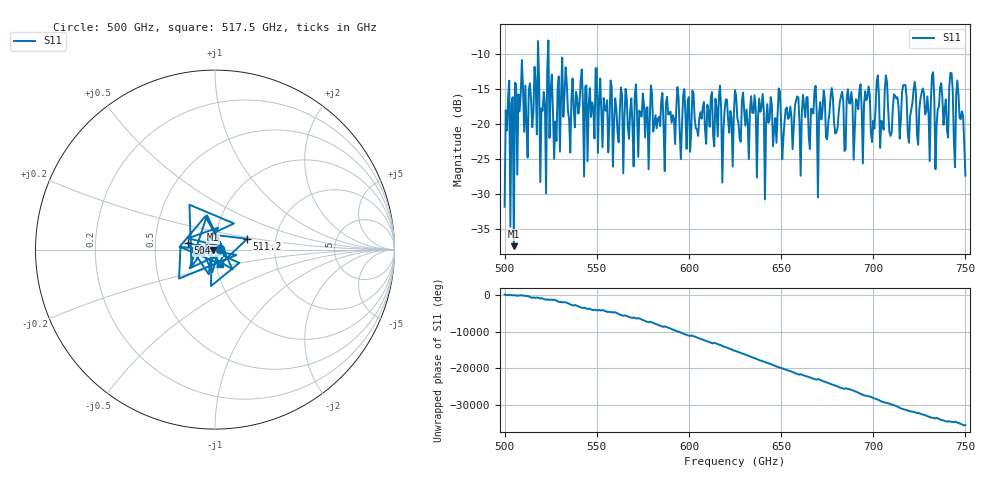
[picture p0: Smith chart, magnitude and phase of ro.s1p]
!Created with skrf (http://scikit-rf.org).
# GHz S RI R 50.0
!freq ReS11 ImS11
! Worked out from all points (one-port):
!   401 points, 500 GHz to 750 GHz, reference 50 ohm
!   lowest |S11| = -37.4 dB at 505 GHz (marker M1), VSWR 1.03, Z = 48.7 - j0.0743 ohm
!   |S11| at or under -10 dB: start of sweep to 518 GHz; 518.3 GHz to 523.5 GHz (5.136 GHz wide, 0.986 % of centre); 523.8 GHz to end of sweep
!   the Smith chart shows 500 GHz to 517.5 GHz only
!   S11 on the Smith chart (normalised r, x): 500 GHz: 1.05, +0.01; 504.4 GHz: 0.74, +0.06; 511.2 GHz: 1.42, +0.18; 517.5 GHz: 1.05, -0.17
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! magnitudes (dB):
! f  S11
! 500 GHz  -31.8
! 501.2 GHz  -20.9
! 504.4 GHz  -16.1
! 505 GHz  -37.4
! 506.2 GHz  -14.3
! 508.8 GHz  -15.8
! 511.2 GHz  -14.5
! 517.5 GHz  -21.5
! 521.2 GHz  -15.4
! 524.4 GHz  -22.0
! 527.5 GHz  -19.6
! 531.2 GHz  -10.5
! 562.5 GHz  -18.2
! 593.8 GHz  -14.7
! 625 GHz  -15.1
! 656.2 GHz  -23.6
! 687.5 GHz  -17.1
! 690.6 GHz  -16.4
! 696.9 GHz  -16.1
! 700 GHz  -19.5
! 701.9 GHz  -13.9
! 709.4 GHz  -21.7
! 716.9 GHz  -14.4
! 718.8 GHz  -21.4
! 739.4 GHz  -16.4
! 742.5 GHz  -12.7
! 746.9 GHz  -19.1
! 750 GHz  -27.4
